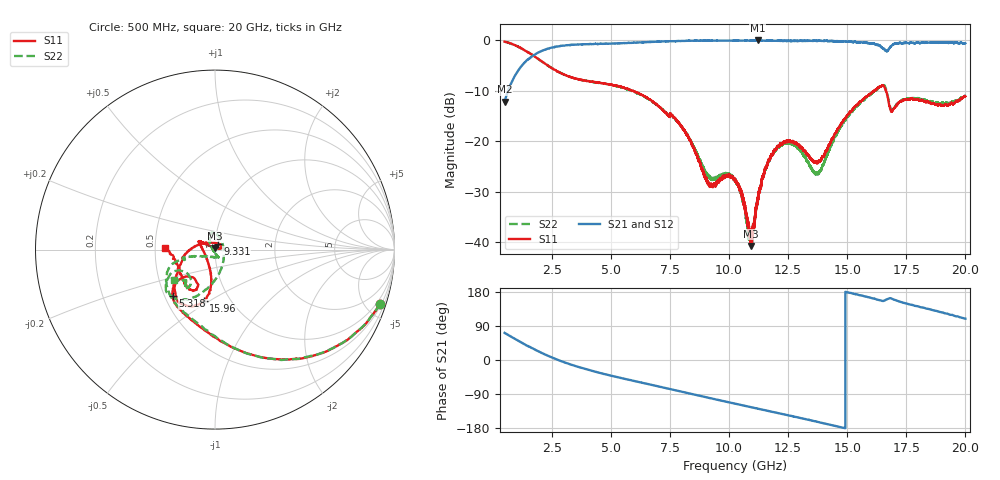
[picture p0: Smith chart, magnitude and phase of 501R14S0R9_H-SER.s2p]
! Created Tue May  5 12:35:45 2020
# mhz S ma R 50
! 2 Port Network Data from SP1.SP block
! freq  magS11  angS11  magS21  angS21  magS12  angS12  magS22  angS22
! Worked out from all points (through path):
!   19501 points, 500 MHz to 20 GHz, reference 50 ohm
!   highest |S21| = -0.04 dB at 11.22 GHz (marker M1); lowest = -12.2 dB at 500 MHz (marker M2)
!   lowest |S11| = -40.7 dB at 10.93 GHz (marker M3), VSWR 1.02, Z = 50.1 + j0.916 ohm
!   |S11| at or under -10 dB: 5.927 GHz to 16.14 GHz (10.21 GHz wide, 92.6 % of centre); 16.64 GHz to end of sweep
!   |S22| runs from -40.8 to -0.3 dB; largest |S21 - S12| = 0.011
!   S11 on the Smith chart (normalised r, x): 500 MHz: 0.65, -6.15; 5.318 GHz: 0.55, -0.33; 9.331 GHz: 1.03, +0.07; 15.96 GHz: 0.75, -0.47; 20 GHz: 0.56, +0.01
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500  0.9673 -18.3  0.2468 71.5  0.2466 71.4  0.9675 -18.2
1601  0.7336 -56.5  0.6734 33.3  0.6743 33.4  0.7328 -56.4
2559  0.5181 -85.1  0.8502 5.2  0.8515 5.1  0.5198 -84.3
3750  0.4038 -112.2  0.9099 -20.7  0.9106 -20.8  0.4048 -109.1
5318  0.3499 -132.2  0.9329 -45.9  0.9318 -45.9  0.3474 -138.9
7000  0.2226 -153.1  0.9693 -69.5  0.9669 -69.5  0.2239 -163.2
8041  0.1336 178.3  0.9853 -84.1  0.9851 -84.2  0.1348 -163.2
9331  0.03656 67.4  0.9915 -102.5  0.9919 -102.5  0.04325 -94.6
10250  0.04113 14.1  0.9913 -115.2  0.9908 -115.3  0.04167 -67.2
10928  0.009204 83.0  0.993 -124.6  0.9923 -124.7  0.01143 -149.1
11216  0.02733 141.2  0.9948 -128.5  0.9916 -128.5  0.02546 139.2
11605  0.05711 148.0  0.9882 -133.8  0.9882 -133.8  0.05686 121.6
12241  0.09417 151.9  0.9849 -142.4  0.985 -142.4  0.09186 104.4
12872  0.09316 157.5  0.9833 -151.0  0.9831 -151.1  0.08747 85.0
13500  0.06556 -176.2  0.9848 -159.8  0.9851 -159.9  0.05364 39.5
13828  0.064 -142.1  0.9863 -164.6  0.9863 -164.5  0.05069 -12.0
14806  0.1557 -97.7  0.9745 -178.5  0.972 -178.5  0.1474 -84.7
15957  0.2933 -102.5  0.934 164.7  0.9334 164.7  0.2868 -113.0
16501  0.3565 -123.1  0.8333 155.8  0.8361 155.8  0.3539 -133.8
16750  0.2466 -139.6  0.812 162.1  0.8113 162.2  0.2544 -152.0
17726  0.2656 -122.5  0.9438 145.6  0.9405 145.9  0.2676 -127.1
20000  0.2792 178.4  0.9351 109.0  0.9306 109.1  0.2834 -143.9
